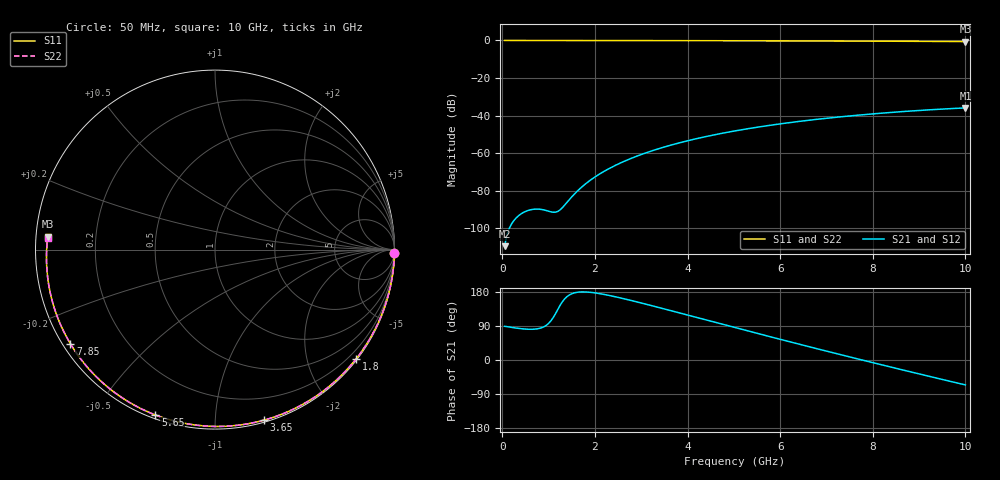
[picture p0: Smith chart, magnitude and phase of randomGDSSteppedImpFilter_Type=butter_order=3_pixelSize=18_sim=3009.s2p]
! freq	dB(S11)	phase(S11)	dB(S12)	phase(S12)
!  dB(S21)	phase(S21)	dB(S22)	phase(S22)
!S-par simulation data
#  GHz  S  DB  R 50
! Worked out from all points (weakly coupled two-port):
!   200 points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, 50 MHz to 10 GHz, reference 50 ohm
!   highest |S21| = -35.87 dB at 10 GHz (marker M1); lowest = -109.4 dB at 50 MHz (marker M2)
!   lowest |S11| = -0.6 dB at 10 GHz (marker M3), VSWR 29.44, Z = 1.7 + j1.91 ohm
!   |S11| at or under -10 dB: nowhere
!   |S22| runs from -0.6 to 0.0 dB; largest |S21 - S12| = 0
!   S11 on the Smith chart (normalised r, x): 50 MHz: open; 1.8 GHz: 0.03, -2.93; 3.65 GHz: 0.02, -1.33; 5.65 GHz: 0.02, -0.70; 7.85 GHz: 0.02, -0.30; 10 GHz: 0.03, +0.04
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0.05  -0.00 -1.1  -109.42 89.0  -109.42 89.0  -0.00 -1.1
0.4  -0.01 -8.5  -92.31 82.7  -92.31 82.7  -0.01 -8.5
0.8  -0.02 -17.0  -89.74 83.3  -89.74 83.3  -0.02 -16.9
1.6  -0.04 -33.6  -80.62 178.3  -80.62 178.3  -0.04 -33.4
1.65  -0.04 -34.6  -79.43 179.2  -79.43 179.2  -0.04 -34.4
1.75  -0.05 -36.7  -77.23 179.7  -77.23 179.7  -0.05 -36.4
1.8  -0.05 -37.7  -76.22 179.6  -76.22 179.6  -0.05 -37.4
2.1  -0.06 -43.7  -71.04 175.2  -71.04 175.2  -0.06 -43.5
2.45  -0.06 -50.7  -66.34 166.6  -66.34 166.6  -0.06 -50.4
2.9  -0.08 -59.6  -61.59 153.5  -61.59 153.5  -0.08 -59.2
3.4  -0.09 -69.2  -57.40 137.9  -57.40 137.9  -0.09 -68.8
3.65  -0.10 -73.9  -55.61 129.9  -55.61 129.9  -0.10 -73.5
4.35  -0.12 -86.8  -51.37 107.4  -51.37 107.4  -0.12 -86.4
5.05  -0.15 -99.3  -48.00 84.8  -48.00 84.8  -0.15 -98.9
5.65  -0.18 -109.8  -45.60 65.7  -45.60 65.7  -0.18 -109.3
6.15  -0.21 -118.3  -43.87 49.9  -43.87 49.9  -0.21 -117.8
6.7  -0.25 -127.6  -42.21 32.7  -42.21 32.7  -0.25 -127.1
7.3  -0.29 -137.7  -40.63 14.2  -40.63 14.2  -0.29 -137.2
7.85  -0.34 -146.9  -39.37 -2.5  -39.37 -2.5  -0.34 -146.4
8.35  -0.39 -155.3  -38.36 -17.5  -38.36 -17.5  -0.39 -154.9
9.2  -0.49 -170.0  -36.93 -42.6  -36.93 -42.6  -0.48 -169.6
10  -0.59 175.6  -35.87 -65.8  -35.87 -65.8  -0.59 175.9
